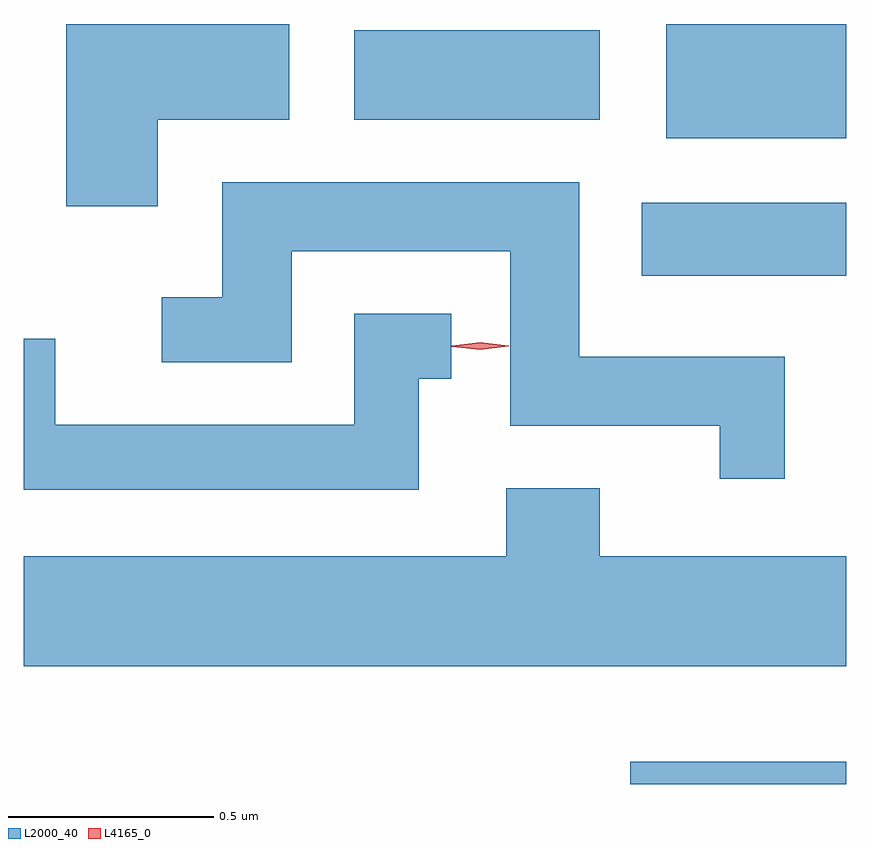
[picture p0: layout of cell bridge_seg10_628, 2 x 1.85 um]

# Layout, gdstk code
import gdstk
lib = gdstk.Library(unit=1e-6, precision=1e-09)
def R(c, l, rs):  # rectangles x0, y0, x1, y1
    for r in rs: c.add(gdstk.rectangle(r[:2], r[2:], *l))
def P(c, l, *ps):  # polygons
    for p in ps: c.add(gdstk.Polygon(p, *l))
L2000_40 = (2000, 40)
L4165_0 = (4165, 0)

bridge_seg10_628 = lib.new_cell('bridge_seg10_628')
R(bridge_seg10_628, L2000_40, [(703.643,2149.15,704.168,2149.204), (703.671,2150.386,704.168,2150.564), (703.731,2150.721,704.168,2150.999), (702.971,2150.766,703.569,2150.984)])
P(bridge_seg10_628, L2000_40, [(702.494,2150.766),(702.814,2150.766),(702.814,2150.999),(702.271,2150.999),(702.271,2150.556),(702.494,2150.556)],
  [(704.019,2150.189),(703.519,2150.189),(703.519,2150.614),(702.651,2150.614),(702.651,2150.334),(702.503,2150.334),(702.503,2150.176),(702.819,2150.176),(702.819,2150.446),(703.351,2150.446),(703.351,2150.021),(703.861,2150.021),(703.861,2149.893),(704.019,2149.893)],
  [(703.129,2150.136),(703.208,2150.136),(703.208,2150.294),(702.971,2150.294),(702.971,2150.024),(702.244,2150.024),(702.244,2150.233),(702.168,2150.233),(702.168,2149.866),(703.129,2149.866)],
  [(704.168,2149.704),(703.569,2149.704),(703.569,2149.869),(703.341,2149.869),(703.341,2149.704),(702.168,2149.704),(702.168,2149.436),(704.168,2149.436)])
P(bridge_seg10_628, L4165_0, [(703.278,2150.206),(703.209,2150.214),(703.209,2150.215),(703.209,2150.216),(703.278,2150.225),(703.348,2150.216),(703.348,2150.216),(703.348,2150.215)])

lib.write_gds('bridge_seg10_628.gds')
